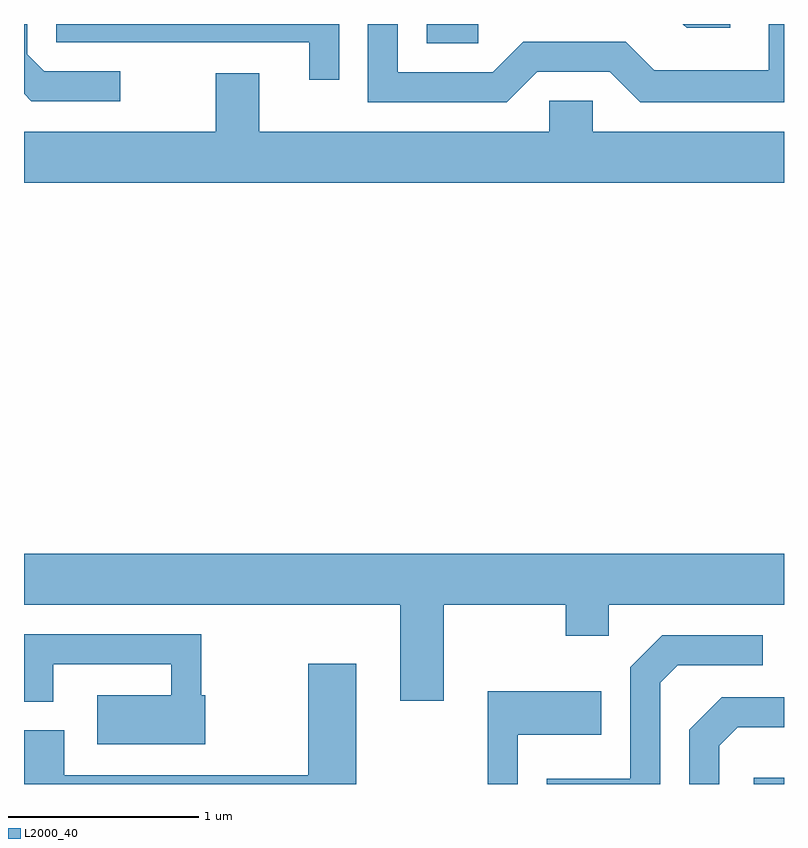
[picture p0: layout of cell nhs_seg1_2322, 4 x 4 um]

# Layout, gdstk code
import gdstk
lib = gdstk.Library(unit=1e-6, precision=1e-09)
def R(c, l, rs):  # rectangles x0, y0, x1, y1
    for r in rs: c.add(gdstk.rectangle(r[:2], r[2:], *l))
def P(c, l, *ps):  # polygons
    for p in ps: c.add(gdstk.Polygon(p, *l))
L2000_40 = (2000, 40)

nhs_seg1_2322 = lib.new_cell('nhs_seg1_2322')
R(nhs_seg1_2322, L2000_40, [(259.451,929.712,259.611,929.744), (257.731,933.611,258.003,933.712)])
P(nhs_seg1_2322, L2000_40, [(256.118,933.464),(255.717,933.464),(255.629,933.552),(255.629,933.712),(255.611,933.712),(255.611,933.344),(255.649,933.306),(256.118,933.306)],
  [(257.269,933.712),(255.781,933.712),(255.781,933.616),(257.111,933.616),(257.111,933.418),(257.269,933.418)],
  [(258.312,933.461),(258.694,933.461),(258.854,933.301),(259.611,933.301),(259.611,933.712),(259.531,933.712),(259.531,933.469),(258.927,933.469),(258.777,933.619),(258.239,933.619),(258.079,933.459),(257.579,933.459),(257.579,933.712),(257.421,933.712),(257.421,933.301),(258.152,933.301)],
  [(259.328,933.712),(259.078,933.712),(259.099,933.691),(259.328,933.691)],
  [(259.611,933.144),(258.604,933.144),(258.604,933.309),(258.376,933.309),(258.376,933.144),(256.849,933.144),(256.849,933.454),(256.621,933.454),(256.621,933.144),(255.611,933.144),(255.611,932.876),(259.611,932.876)],
  [(257.819,930.656),(258.461,930.656),(258.461,930.491),(258.689,930.491),(258.689,930.656),(259.611,930.656),(259.611,930.924),(255.611,930.924),(255.611,930.656),(257.591,930.656),(257.591,930.151),(257.819,930.151)],
  [(256.564,930.179),(256.544,930.179),(256.544,930.499),(255.611,930.499),(255.611,930.146),(255.764,930.146),(255.764,930.341),(256.386,930.341),(256.386,930.179),(255.996,930.179),(255.996,929.921),(256.564,929.921)],
  [(258.959,930.244),(259.052,930.336),(259.498,930.336),(259.498,930.494),(258.969,930.494),(258.801,930.327),(258.801,929.739),(258.361,929.739),(258.361,929.712),(258.959,929.712)],
  [(257.359,930.344),(257.106,930.344),(257.106,929.759),(255.824,929.759),(255.824,929.994),(255.611,929.994),(255.611,929.712),(257.359,929.712)],
  [(258.209,929.971),(258.649,929.971),(258.649,930.199),(258.051,930.199),(258.051,929.712),(258.209,929.712)],
  [(259.269,929.914),(259.367,930.011),(259.611,930.011),(259.611,930.169),(259.284,930.169),(259.111,929.997),(259.111,929.712),(259.269,929.712)])

lib.write_gds('nhs_seg1_2322.gds')
